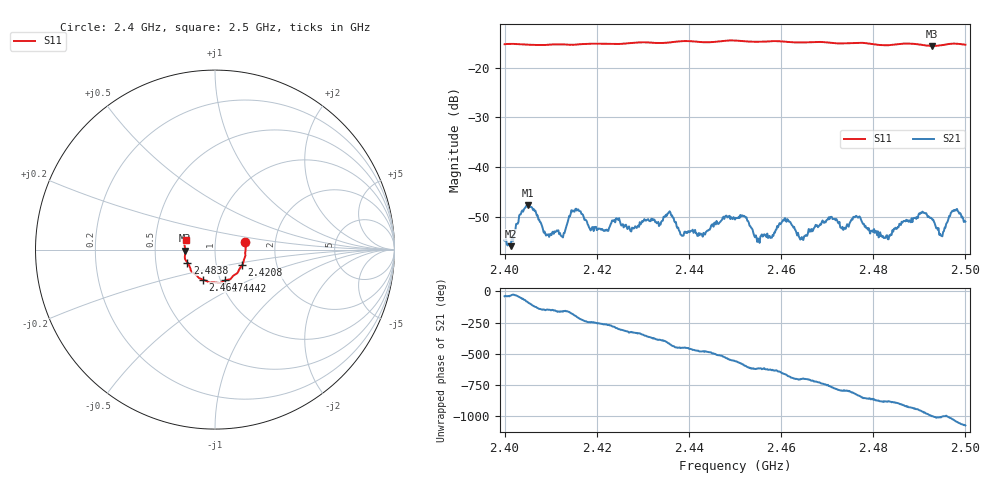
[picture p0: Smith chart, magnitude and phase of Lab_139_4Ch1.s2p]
# Hz S RI R 50
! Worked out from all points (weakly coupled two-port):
!   601 points, 2.4 GHz to 2.5 GHz, reference 50 ohm
!   highest |S21| = -47.67 dB at 2.405 GHz (marker M1); lowest = -55.9 dB at 2.4013 GHz (marker M2)
!   lowest |S11| = -15.6 dB at 2.4928 GHz (marker M3), VSWR 1.40, Z = 35.8 - j0.37 ohm
!   |S11| at or under -10 dB: start of sweep to end of sweep
!   S12 and S22 are empty: the file has one direction only
!   S11 on the Smith chart (normalised r, x): 2.4 GHz: 1.40, +0.12; 2.4208 GHz: 1.33, -0.24; 2.4442 GHz: 1.05, -0.37; 2.4647 GHz: 0.83, -0.29; 2.4838 GHz: 0.73, -0.11; 2.5 GHz: 0.72, +0.08
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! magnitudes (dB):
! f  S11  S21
! 2.4 GHz  -15.3  -54.8
! 2.4013 GHz  -15.2  -55.9
! 2.405 GHz  -15.3  -47.7
! 2.4093 GHz  -15.4  -53.7
! 2.4167 GHz  -15.2  -49.4
! 2.4208 GHz  -15.1  -52.5
! 2.4333 GHz  -15.0  -51.0
! 2.4358 GHz  -14.9  -48.9
! 2.4383 GHz  -14.7  -53.7
! 2.4442 GHz  -14.9  -52.8
! 2.45 GHz  -14.5  -50.5
! 2.4548 GHz  -14.8  -55.1
! 2.461 GHz  -14.7  -50.7
! 2.4647 GHz  -14.9  -54.5
! 2.4667 GHz  -14.8  -52.4
! 2.4767 GHz  -15.0  -50.1
! 2.4833 GHz  -15.5  -54.5
! 2.4838 GHz  -15.4  -53.5
! 2.4928 GHz  -15.6  -50.6
! 2.4948 GHz  -15.5  -53.8
! 2.4973 GHz  -15.2  -48.9
! 2.5 GHz  -15.3  -51.0
